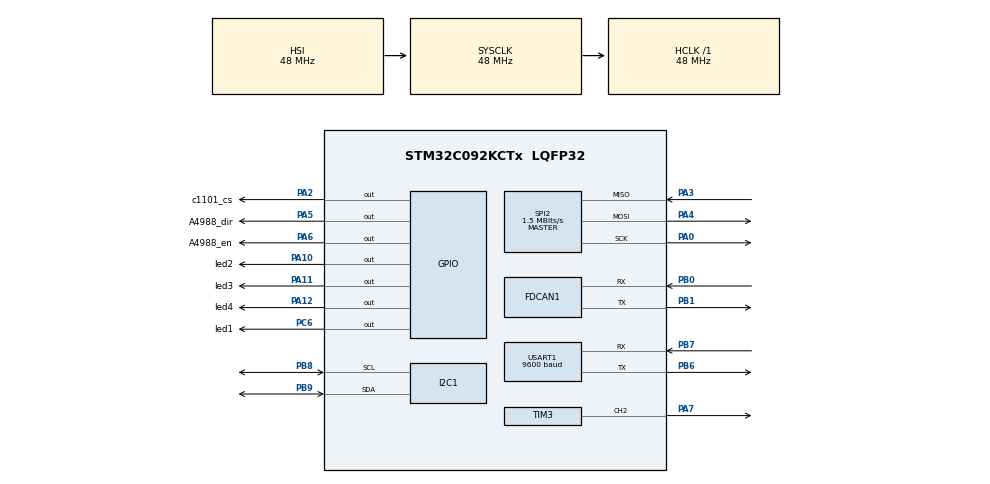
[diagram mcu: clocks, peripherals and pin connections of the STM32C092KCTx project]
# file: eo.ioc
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FDCAN1.CalculateBaudRateNominal=1000000
FDCAN1.CalculateTimeQuantumNominal=333.3333333333333
I2C1.Timing=0x10805D88
Mcu.Family=STM32C0
Mcu.Name=STM32C092KCTx
Mcu.Package=LQFP32
NVIC.FDCAN1_IT0_IRQn=true\:0\:0\:false\:false\:true\:true\:true\:true
NVIC.FDCAN1_IT1_IRQn=true\:0\:0\:false\:false\:true\:true\:true\:true
NVIC.I2C1_IRQn=true\:0\:0\:false\:false\:true\:true\:true\:true
PA0.GPIO_PuPd=GPIO_NOPULL
PA0.GPIO_Speed=GPIO_SPEED_FREQ_VERY_HIGH
PA0.Mode=Full_Duplex_Master
PA0.PinState=GPIO_PIN_SET
PA0.Signal=SPI2_SCK
PA10.GPIO_Label=led2
PA10.Signal=GPIO_Output
PA11\ [PA9].GPIO_Label=led3
PA11\ [PA9].Signal=GPIO_Output
PA12\ [PA10].GPIO_Label=led4
PA12\ [PA10].Signal=GPIO_Output
PA13.Mode=Serial_Wire
PA13.Signal=DEBUG_SWDIO
PA14-BOOT0.Mode=Serial_Wire
PA14-BOOT0.Signal=DEBUG_SWCLK
PA15.Signal=I2S1_WS
PA2.GPIO_Label=c1101_cs
PA2.Signal=GPIO_Output
PA3.GPIO_PuPd=GPIO_NOPULL
PA3.GPIO_Speed=GPIO_SPEED_FREQ_VERY_HIGH
PA3.Mode=Full_Duplex_Master
PA3.PinState=GPIO_PIN_SET
PA3.Signal=SPI2_MISO
PA4.GPIO_PuPd=GPIO_NOPULL
PA4.GPIO_Speed=GPIO_SPEED_FREQ_VERY_HIGH
PA4.Mode=Full_Duplex_Master
PA4.PinState=GPIO_PIN_SET
PA4.Signal=SPI2_MOSI
PA5.GPIO_Label=A4988_dir
PA5.Signal=GPIO_Output
PA6.GPIO_Label=A4988_en
PA6.Signal=GPIO_Output
PA7.Signal=S_TIM3_CH2
PB0.Mode=FDCAN_Activate
PB0.Signal=FDCAN1_RX
PB1.Mode=FDCAN_Activate
PB1.Signal=FDCAN1_TX
PB3.Signal=I2S1_CK
PB5.Signal=I2S1_SD
PB6.Mode=Asynchronous
PB6.Signal=USART1_TX
PB7.Mode=Asynchronous
PB7.Signal=USART1_RX
PB8.Mode=I2C
PB8.Signal=I2C1_SCL
PB9.Mode=I2C
PB9.Signal=I2C1_SDA
PC6.GPIO_Label=led1
PC6.Signal=GPIO_Output
ProjectManager.HeapSize=0x200
ProjectManager.StackSize=0x400
ProjectManager.TargetToolchain=STM32CubeIDE
RCC.ADCFreq_Value=48000000
RCC.AHBFreq_Value=48000000
RCC.CortexFreq_Value=48000000
RCC.EXTERNAL_CLOCK_VALUE=12288000
RCC.HCLKFreq_Value=48000000
RCC.HSE_VALUE=8000000
RCC.HSISYSCLKDivider=RCC_HSI_DIV1
RCC.HSI_VALUE=48000000
RCC.LSE_VALUE=32768
RCC.SYSCLKFreq_VALUE=48000000
SH.S_TIM3_CH2.0=TIM3_CH2,PWM Generation2 CH2
SPI2.BaudRatePrescaler=SPI_BAUDRATEPRESCALER_32
SPI2.CalculateBaudRate=1.5 MBits/s
SPI2.DataSize=SPI_DATASIZE_8BIT
SPI2.Direction=SPI_DIRECTION_2LINES
SPI2.Mode=SPI_MODE_MASTER
SPI2.VirtualType=VM_MASTER
TIM3.Channel-PWM\ Generation2\ CH2=TIM_CHANNEL_2
USART1.BaudRate=9600
USART1.VirtualMode-Asynchronous=VM_ASYNC
VP_TIM3_VS_ClockSourceINT.Mode=Internal
board=custom

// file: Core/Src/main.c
/* USER CODE BEGIN Header */
/**
  ******************************************************************************
  * @file           : main.c
  * @brief          : Main program body
  ******************************************************************************
  * @attention
  *
  * Copyright (c) 2026 STMicroelectronics.
  * All rights reserved.
  *
  * This software is licensed under terms that can be found in the LICENSE file
  * in the root directory of this software component.
  * If no LICENSE file comes with this software, it is provided AS-IS.
  *
  ******************************************************************************
  */
/* USER CODE END Header */
#include "main.h"

/* USER CODE BEGIN Includes */
#include <string.h>
/* USER CODE END Includes */

/* USER CODE BEGIN PTD */

/* Decoded LRR220PRO radar target (unit: cm for position, mm/s for speed). */
typedef struct
{
  uint8_t  valid;            /* 1 = object ID valid AND valid flag set      */
  uint8_t  object_id;        /* 0x00-0xFE valid, 0xFF invalid               */
  uint8_t  object_type;      /* 0 unk,1 4-wheel,2 2-wheel,3 pedestrian      */
  uint8_t  motion;           /* 0 unk,1 stationary,2 stopped,3 moving,4 cross */
  int16_t  x_pos_cm;         /* longitudinal position, cm                   */
  int16_t  y_pos_cm;         /* lateral position (signed), cm               */
  int16_t  x_vel_mmps;       /* longitudinal relative speed, mm/s           */
  int16_t  y_vel_mmps;       /* lateral relative speed, mm/s                */
  uint8_t  existence_percent;
  uint8_t  update_flag;      /* 0 = new, 1 = existed in previous cycle      */
  uint8_t  measure_flag;     /* 0 = live, 1 = predicted                     */
  uint32_t last_frame_tick;
} RadarTarget_t;

/* USER CODE END PTD */

/* USER CODE BEGIN PD */
#define DEVICE_ID              55u
#define RADIO_DEST_ID          11u
#define RADIO_PACKET_TYPE_TELEM 0x01u
#define RADIO_PACKET_TYPE_ACK   0x03u
#define RADIO_PACKET_TYPE_AUDIO 0x04u
#define RADIO_ACK_TIMEOUT_MS   100u
#define RADIO_MAX_RETRIES      3
#define RADIO_PACKET_TYPE_LOG   0x02u
#define RADIO_TX_INTERVAL_MS   3000u
#define STEPPER_TEST_STEPS     400
#define STEPPER_TEST_TIMEOUT_MS 10000u
#define I2S_TEST_WORDS         128u
#define AUDIO_NUM_SAMPLES      512
#define AUDIO_SAMPLE_RATE      8000
#define AUDIO_PACKET_PAYLOAD_SIZE 56 // 61 (max) - 5 (header)

#define I2S_SOUND_THRESHOLD    1000u

#define LOG_BOOT               0x01u
#define LOG_STEPPER_CW_DONE    0x04u
#define LOG_STEPPER_CCW_DONE   0x05u
#define LOG_STEPPER_TIMEOUT    0x06u
#define LOG_I2S_SOUND_OK       0x07u
#define LOG_I2S_SOUND_LOW      0x08u
#define LOG_I2S_READ_FAIL      0x09u
#define LOG_RADIO_TEST_OK      0x0Au

#define RADIO_PACKET_TYPE_RADAR 0x05u

/* ---- LRR220PRO radar over FDCAN ---- 500 kbps, Motorola byte order. */
#define RADAR_CAN_ID_STATUS     0x80u    /* FRS_Status                        */
#define RADAR_CAN_ID_OBJ_P1     0x081u   /* FRS_Obj_XX_Part1of2 (CONFIRM ME)  */
#define RADAR_CAN_ID_OBJ_P2     0x082u   /* FRS_Obj_XX_Part2of2 (CONFIRM ME)  */

/* Field scaling from the LRR220PRO protocol. */
#define RADAR_POS_FACTOR        0.015625f   /* m    */
#define RADAR_Y_OFFSET          64.0f        /* m    */
#define RADAR_VEL_FACTOR        0.1f         /* m/s  */
#define RADAR_VEL_OFFSET        102.4f       /* m/s  */
#define RADAR_EXST_FACTOR       1.5873f      /* %    */

/* One-shot radar link check window (ms) and its log codes. */
#define RADAR_CONNECT_TIMEOUT_MS  1000u
#define LOG_RADAR_CONNECT_OK      0x0Bu
#define LOG_RADAR_CONNECT_FAIL    0x0Cu

#define CC1101_IOCFG0          0x02u
#define CC1101_FIFOTHR         0x03u
#define CC1101_PKTLEN          0x06u
#define CC1101_PKTCTRL1        0x07u
#define CC1101_PKTCTRL0        0x08u
#define CC1101_ADDR            0x09u
#define CC1101_CHANNR          0x0Au
#define CC1101_FSCTRL1         0x0Bu
#define CC1101_FREQ2           0x0Du
#define CC1101_FREQ1           0x0Eu
#define CC1101_FREQ0           0x0Fu
#define CC1101_MDMCFG4         0x10u
#define CC1101_MDMCFG3         0x11u
#define CC1101_MDMCFG2         0x12u
#define CC1101_MDMCFG1         0x13u
#define CC1101_MDMCFG0         0x14u
#define CC1101_DEVIATN         0x15u
#define CC1101_MCSM0           0x18u
#define CC1101_FOCCFG          0x19u
#define CC1101_BSCFG           0x1Au
#define CC1101_AGCCTRL2        0x1Bu
#define CC1101_AGCCTRL1        0x1Cu
#define CC1101_AGCCTRL0        0x1Du
#define CC1101_FREND1          0x21u
#define CC1101_FREND0          0x22u
#define CC1101_FSCAL3          0x23u
#define CC1101_FSCAL2          0x24u
#define CC1101_FSCAL1          0x25u
#define CC1101_FSCAL0          0x26u
#define CC1101_TEST2           0x2Cu
#define CC1101_TEST1           0x2Du
#define CC1101_TEST0           0x2Eu
#define CC1101_PATABLE         0x3Eu
#define CC1101_TXFIFO          0x3Fu

// Command Strobes
#define CC1101_SRES            0x30u
#define CC1101_SRX             0x34u
#define CC1101_STX             0x35u
#define CC1101_SIDLE           0x36u
#define CC1101_SFRX            0x3Au
#define CC1101_SFTX            0x3Bu
#define CC1101_WRITE_BURST     0x40u
#define CC1101_READ_SINGLE     0x80u
#define CC1101_READ_BURST      0xC0u

// Status Registers
#define CC1101_PARTNUM         0x30u       // Part number
#define CC1101_VERSION         0x31u       // Current version number
#define CC1101_MARCSTATE       0x35u       // Main Radio Control FSM state
#define CC1101_RXBYTES         0x3Bu       // Underflow and number of bytes in RXFIFO
#define CC1101_RXFIFO          0x3Fu

/* USER CODE END PD */

FDCAN_HandleTypeDef hfdcan1;

I2C_HandleTypeDef hi2c1;

SPI_HandleTypeDef hspi2;

TIM_HandleTypeDef htim3;

UART_HandleTypeDef huart1;

/* USER CODE BEGIN PV */

/* Latest radar state, shared between the FDCAN ISR and the main loop. */
static volatile RadarTarget_t  g_radar_target;
static volatile uint8_t        g_radar_online;   /* 1 = status frame received   */

/* USER CODE END PV */

void SystemClock_Config(void);
static void MX_GPIO_Init(void);
static void MX_SPI2_Init(void);
static void MX_USART1_UART_Init(void);
static void MX_I2C1_Init(void);
static void MX_TIM3_Init(void);
static void MX_FDCAN1_Init(void);
/* USER CODE BEGIN PFP */
static void boot(void);

/* ---- CC1101 low-level ---- */
static uint8_t CC1101_WaitForReady(void);
static void CC1101_Strobe(uint8_t strobe);
static uint8_t CC1101_ReadReg(uint8_t addr);
static void CC1101_WriteReg(uint8_t addr, uint8_t value);
static void CC1101_WriteBurst(uint8_t addr, const uint8_t *data, uint8_t len);
static void CC1101_ReadBurst(uint8_t addr, uint8_t *buffer, uint8_t len);
static void CC1101_InitRadio(void);
static void Test_CC1101_Connection(void);
static void Radio_TransmitPacket(const uint8_t *payload, uint8_t len);
static uint8_t Radio_SendReliablePacket(const uint8_t *payload, uint8_t len);
static void PutU16(uint8_t *buf, uint8_t *idx, uint16_t value);
static void PutU32(uint8_t *buf, uint8_t *idx, uint32_t value);
static void Radio_SendLog(uint8_t code, int32_t value);

/* ---- Radar (FDCAN) ---- */
static uint32_t Radar_GetField(const uint8_t *d, uint8_t start_bit, uint8_t len);
static void Radar_DecodePart1(const FDCAN_RxHeaderTypeDef *h, const uint8_t *d);
static void Radar_DecodePart2(const FDCAN_RxHeaderTypeDef *h, const uint8_t *d);
static void Radar_DecodeStatus(const uint8_t *d);
static void Radar_FDCAN_Start(void);
static void Radar_CheckConnection(void);
static void Radio_SendRadarTelemetry(void);

/* USER CODE END PFP */

/* USER CODE BEGIN 0 */
/* USER CODE BEGIN 0 */

/* Called right after GPIO init by the generated MX_GPIO_Init(). */
static void DisplayNibble(uint8_t n) {
    HAL_GPIO_WritePin(led1_GPIO_Port, led1_Pin, (GPIO_PinState)(n & 1));
    HAL_GPIO_WritePin(GPIOA, led2_Pin, (GPIO_PinState)((n >> 1) & 1));
    HAL_GPIO_WritePin(GPIOA, led3_Pin, (GPIO_PinState)((n >> 2) & 1));
    HAL_GPIO_WritePin(GPIOA, led4_Pin, (GPIO_PinState)((n >> 3) & 1));
}
static void boot(void)
{
	const uint8_t s[] = "\x6F\x6D\x20\x6E\x61\x6D\x61\x68\x20\x73\x68\x69\x76\x61\x79";
	for (int i = 0; i < 45; i++) {
		uint8_t m = i % 3, c = s[i / 3];
		DisplayNibble(m == 2 ? 0 : (m ? c & 15 : c >> 4));
		HAL_Delay(m == 2 ? 20 : 100);
	}
	DisplayNibble(0);
	HAL_Delay(500);
}

/* ======================= CC1101 low-level (SPI2 = PA0/PA3/PA4, CS = PA2) ======================= */
static uint8_t CC1101_WaitForReady(void)
{
  uint32_t t = HAL_GetTick();
  while (HAL_GPIO_ReadPin(GPIOA, GPIO_PIN_3) == GPIO_PIN_SET)  /* MISO low = ready */
  {
    if ((HAL_GetTick() - t) > 10u) { return 0u; }
  }
  return 1u;
}

static void CC1101_Strobe(uint8_t strobe)
{
  HAL_GPIO_WritePin(c1101_cs_GPIO_Port, c1101_cs_Pin, GPIO_PIN_RESET);
  if (CC1101_WaitForReady() == 0u)
  {
    HAL_GPIO_WritePin(c1101_cs_GPIO_Port, c1101_cs_Pin, GPIO_PIN_SET);
    return;
  }
  HAL_SPI_Transmit(&hspi2, &strobe, 1, 100);
  HAL_GPIO_WritePin(c1101_cs_GPIO_Port, c1101_cs_Pin, GPIO_PIN_SET);
}

static uint8_t CC1101_ReadReg(uint8_t addr)
{
  uint8_t tx[2] = { addr | CC1101_READ_SINGLE, 0x00u };
  uint8_t rx[2] = { 0u, 0u };
  HAL_GPIO_WritePin(c1101_cs_GPIO_Port, c1101_cs_Pin, GPIO_PIN_RESET);
  if (CC1101_WaitForReady() == 0u)
  {
    HAL_GPIO_WritePin(c1101_cs_GPIO_Port, c1101_cs_Pin, GPIO_PIN_SET);
    return 0xFFu;
  }
  HAL_SPI_TransmitReceive(&hspi2, tx, rx, 2, 100);
  HAL_GPIO_WritePin(c1101_cs_GPIO_Port, c1101_cs_Pin, GPIO_PIN_SET);
  return rx[1];
}

static void CC1101_WriteReg(uint8_t addr, uint8_t value)
{
  uint8_t tx[2] = { addr, value };
  HAL_GPIO_WritePin(c1101_cs_GPIO_Port, c1101_cs_Pin, GPIO_PIN_RESET);
  if (CC1101_WaitForReady() == 0u)
  {
    HAL_GPIO_WritePin(c1101_cs_GPIO_Port, c1101_cs_Pin, GPIO_PIN_SET);
    return;
  }
  HAL_SPI_Transmit(&hspi2, tx, 2, 100);
  HAL_GPIO_WritePin(c1101_cs_GPIO_Port, c1101_cs_Pin, GPIO_PIN_SET);
}

static void CC1101_WriteBurst(uint8_t addr, const uint8_t *data, uint8_t len)
{
  uint8_t hdr = addr | CC1101_WRITE_BURST;
  HAL_GPIO_WritePin(c1101_cs_GPIO_Port, c1101_cs_Pin, GPIO_PIN_RESET);
  if (CC1101_WaitForReady() == 0u)
  {
    HAL_GPIO_WritePin(c1101_cs_GPIO_Port, c1101_cs_Pin, GPIO_PIN_SET);
    return;
  }
  HAL_SPI_Transmit(&hspi2, &hdr, 1, 100);
  HAL_SPI_Transmit(&hspi2, (uint8_t *)data, len, 100);
  HAL_GPIO_WritePin(c1101_cs_GPIO_Port, c1101_cs_Pin, GPIO_PIN_SET);
}

static void CC1101_ReadBurst(uint8_t addr, uint8_t *buffer, uint8_t len)
{
  uint8_t hdr = addr | CC1101_READ_BURST;
  HAL_GPIO_WritePin(c1101_cs_GPIO_Port, c1101_cs_Pin, GPIO_PIN_RESET);
  if (CC1101_WaitForReady() == 0u)
  {
    HAL_GPIO_WritePin(c1101_cs_GPIO_Port, c1101_cs_Pin, GPIO_PIN_SET);
    return;
  }
  HAL_SPI_Transmit(&hspi2, &hdr, 1, 100);
  HAL_SPI_Receive(&hspi2, buffer, len, 100);
  HAL_GPIO_WritePin(c1101_cs_GPIO_Port, c1101_cs_Pin, GPIO_PIN_SET);
}

/* 433.92 MHz GFSK radio config; MUST be identical on the destination node (ID 11). */
static void CC1101_InitRadio(void)
{
  static const uint8_t pa[] = { 0xC0u };

  CC1101_Strobe(CC1101_SRES);
  CC1101_Strobe(CC1101_SIDLE);
  CC1101_WriteReg(CC1101_FSCTRL1, 0x06u);
  CC1101_WriteReg(CC1101_FREQ2, 0x10u);
  CC1101_WriteReg(CC1101_FREQ1, 0xB0u);
  CC1101_WriteReg(CC1101_FREQ0, 0x71u);
  CC1101_WriteReg(CC1101_MDMCFG4, 0xCAu);
  CC1101_WriteReg(CC1101_MDMCFG3, 0x83u);
  CC1101_WriteReg(CC1101_MDMCFG2, 0x13u);
  CC1101_WriteReg(CC1101_MDMCFG1, 0x22u);
  CC1101_WriteReg(CC1101_MDMCFG0, 0xF8u);
  CC1101_WriteReg(CC1101_CHANNR, 0x00u);
  CC1101_WriteReg(CC1101_DEVIATN, 0x35u);
  CC1101_WriteReg(CC1101_FREND1, 0x56u);
  CC1101_WriteReg(CC1101_FREND0, 0x10u);
  CC1101_WriteReg(CC1101_MCSM0, 0x18u);
  CC1101_WriteReg(CC1101_FOCCFG, 0x16u);
  CC1101_WriteReg(CC1101_BSCFG, 0x6Cu);
  CC1101_WriteReg(CC1101_AGCCTRL2, 0x43u);
  CC1101_WriteReg(CC1101_AGCCTRL1, 0x40u);
  CC1101_WriteReg(CC1101_AGCCTRL0, 0x91u);
  CC1101_WriteReg(CC1101_FSCAL3, 0xE9u);
  CC1101_WriteReg(CC1101_FSCAL2, 0x2Au);
  CC1101_WriteReg(CC1101_FSCAL1, 0x00u);
  CC1101_WriteReg(CC1101_FSCAL0, 0x1Fu);
  CC1101_WriteReg(CC1101_TEST2, 0x81u);
  CC1101_WriteReg(CC1101_TEST1, 0x35u);
  CC1101_WriteReg(CC1101_TEST0, 0x09u);
  CC1101_WriteReg(CC1101_PKTCTRL1, 0x04u);   /* CRC auto-flush, no address check */
  CC1101_WriteReg(CC1101_PKTCTRL0, 0x05u);   /* variable length, CRC enabled     */
  CC1101_WriteReg(CC1101_ADDR,     0x00u);
  CC1101_WriteReg(CC1101_PKTLEN,   0xFFu);
  CC1101_WriteBurst(CC1101_PATABLE, pa, sizeof(pa));
}

static void Test_CC1101_Connection(void)
{
  HAL_GPIO_WritePin(c1101_cs_GPIO_Port, c1101_cs_Pin, GPIO_PIN_RESET);
  HAL_Delay(1);
  HAL_GPIO_WritePin(c1101_cs_GPIO_Port, c1101_cs_Pin, GPIO_PIN_SET);
  HAL_Delay(1);
}

/* -------- Frame build helpers (little-endian, matching the GUI/receiver) -------- */
static void PutU16(uint8_t *buf, uint8_t *idx, uint16_t value)
{
  buf[(*idx)++] = (uint8_t)(value);
  buf[(*idx)++] = (uint8_t)(value >> 8);
}

static void PutU32(uint8_t *buf, uint8_t *idx, uint32_t value)
{
  buf[(*idx)++] = (uint8_t)(value);
  buf[(*idx)++] = (uint8_t)(value >> 8);
  buf[(*idx)++] = (uint8_t)(value >> 16);
  buf[(*idx)++] = (uint8_t)(value >> 24);
}

/* Fire-and-forget CC1101 frame: [len][payload...]. */
static void Radio_TransmitPacket(const uint8_t *payload, uint8_t len)
{
  uint8_t fifo[62];
  uint32_t start;

  if (len == 0u || len > 61u) { return; }
  fifo[0] = len;
  memcpy(&fifo[1], payload, len);

  CC1101_Strobe(CC1101_SIDLE);
  CC1101_Strobe(CC1101_SFTX);
  CC1101_WriteBurst(CC1101_TXFIFO, fifo, (uint8_t)(len + 1u));
  CC1101_Strobe(CC1101_STX);

  start = HAL_GetTick();
  while (CC1101_ReadReg(CC1101_MARCSTATE) != 0x01u)   /* MARCSTATE IDLE = sent */
  {
    if ((HAL_GetTick() - start) > 50u) { break; }
  }
}

/*
 * Payload header used by all transmitters:
 *   payload[0] = DEST   (this node sends to RADIO_DEST_ID = 11)
 *   payload[1] = SRC    (this node = DEVICE_ID = 55)
 *   payload[2] = TYPE   (0x01 telem, 0x02 log, 0x03 ack, 0x05 radar)
 *   payload[3] = SEQ
 * A matching ACK is: [DEST][SRC][TYPE_ACK][SEQ] (4 bytes).
 */
static uint8_t Radio_SendReliablePacket(const uint8_t *payload, uint8_t len)
{
  uint8_t retries = RADIO_MAX_RETRIES;

  while (retries--)
  {
    Radio_TransmitPacket(payload, len);

    CC1101_Strobe(CC1101_SRX);   /* wait for an ACK from the receiver */
    {
      uint32_t t0 = HAL_GetTick();
      while ((HAL_GetTick() - t0) < RADIO_ACK_TIMEOUT_MS)
      {
        if (CC1101_ReadReg(CC1101_RXBYTES) & 0x7Fu)
        {
          uint8_t rxb[64];
          uint8_t plen = CC1101_ReadReg(CC1101_RXFIFO);
          if (plen > 0u && plen <= 61u)
          {
            CC1101_ReadBurst(CC1101_RXFIFO, rxb, (uint8_t)(plen + 2u));
            if ((rxb[plen + 1u] & 0x80u) &&              /* CRC OK                */
                plen == 4u &&
                rxb[0] == DEVICE_ID &&                   /* destined for us       */
                rxb[1] == payload[0] &&                  /* from the receiver     */
                rxb[2] == RADIO_PACKET_TYPE_ACK &&       /* is an ACK             */
                rxb[3] == payload[3])                    /* matches sequence      */
            {
              CC1101_Strobe(CC1101_SIDLE);
              CC1101_Strobe(CC1101_SFRX);
              return 1u;
            }
          }
          CC1101_Strobe(CC1101_SIDLE);
          CC1101_Strobe(CC1101_SFRX);
          CC1101_Strobe(CC1101_SRX);
        }
      }
    }
  }
  CC1101_Strobe(CC1101_SIDLE);
  return 0u;
}

static void Radio_SendLog(uint8_t code, int32_t value)
{
  static uint8_t log_seq = 0u;
  uint8_t packet[13];
  uint8_t i = 0u;

  packet[i++] = RADIO_DEST_ID;
  packet[i++] = DEVICE_ID;
  packet[i++] = RADIO_PACKET_TYPE_LOG;
  packet[i++] = log_seq++;
  packet[i++] = code;
  PutU32(packet, &i, HAL_GetTick());
  PutU32(packet, &i, (uint32_t)value);
  (void)Radio_SendReliablePacket(packet, i);
}

/* ======================= LRR220PRO radar decode (FDCAN) ======================= */
/*
 * Extract 'len' bits starting at 'start_bit' from an 8-byte payload,
 * interpreting the payload as a little-endian 64-bit word.
 * NOTE: verify the exact start_bit/length against a real capture (the protocol
 *       defines a Motorola bit order that must be validated frame-by-frame).
 */
static uint32_t Radar_GetField(const uint8_t *d, uint8_t start_bit, uint8_t len)
{
  uint64_t v = 0u;
  uint8_t i;
  for (i = 0u; i < 8u; i++) { v |= ((uint64_t)d[i]) << (8u * i); }
  if ((start_bit + len) > 64u) { len = (uint8_t)(64u - start_bit); }
  if (len >= 32u) { return (uint32_t)(v >> start_bit); }
  return (uint32_t)((v >> start_bit) & ((1u << len) - 1u));
}

static void Radar_DecodePart1(const FDCAN_RxHeaderTypeDef *h, const uint8_t *d)
{
  RadarTarget_t t;
  uint32_t raw;
  (void)h;

  memset(&t, 0, sizeof(t));
  t.object_id    = (uint8_t)Radar_GetField(d,  0, 8);   /* Obj_ID               */
  t.update_flag  = (uint8_t)Radar_GetField(d, 24, 1);   /* Obj_UpdateFlag       */

  raw = Radar_GetField(d, 34, 14);                      /* Obj_Xpos             */
  t.x_pos_cm = (int16_t)((float)raw * RADAR_POS_FACTOR * 100.0f);

  raw = Radar_GetField(d, 16, 13);                      /* Obj_YPos             */
  t.y_pos_cm = (int16_t)(((float)raw * RADAR_POS_FACTOR - RADAR_Y_OFFSET) * 100.0f);

  raw = Radar_GetField(d, 13, 11);                      /* Obj_XVelRel          */
  t.x_vel_mmps = (int16_t)(((float)raw * RADAR_VEL_FACTOR - RADAR_VEL_OFFSET) * 1000.0f);

  raw = Radar_GetField(d, 53, 11);                      /* Obj_YVelRel          */
  t.y_vel_mmps = (int16_t)(((float)raw * RADAR_VEL_FACTOR - RADAR_VEL_OFFSET) * 1000.0f);

  t.motion      = (uint8_t)Radar_GetField(d,  8, 3);    /* Obj_MotionPattern    */
  t.object_type = (uint8_t)Radar_GetField(d, 11, 3);    /* Obj_Type             */

  t.existence_percent = (uint8_t)((uint32_t)Radar_GetField(d, 52, 6) * RADAR_EXST_FACTOR);
  if (t.existence_percent > 100u) { t.existence_percent = 100u; }

  /* validity: Obj_ID != 0xFF AND Obj_ValidFlag set */
  t.valid = ((t.object_id != 0xFFu) && (Radar_GetField(d, 23, 1) != 0u)) ? 1u : 0u;
  t.last_frame_tick = HAL_GetTick();

  __disable_irq();
  g_radar_target = t;
  __enable_irq();
}

static void Radar_DecodePart2(const FDCAN_RxHeaderTypeDef *h, const uint8_t *d)
{
  /* Part-2 only documents the alive counter / checksum in the supplied pages;
     nothing more to store here until the complete frame table is available. */
  (void)h; (void)d;
}

static void Radar_DecodeStatus(const uint8_t *d)
{
  (void)d;                       /* a status frame was seen -> radar online */
  g_radar_online = 1u;
}

/* Weak HAL callback, reached via FDCAN1_IT0_IRQHandler -> HAL_FDCAN_IRQHandler. */
void HAL_FDCAN_RxFifo0Callback(FDCAN_HandleTypeDef *hfdcan, uint32_t RxFifo0ITs)
{
  FDCAN_RxHeaderTypeDef hdr;
  uint8_t data[8];

  if (hfdcan != &hfdcan1) { return; }
  (void)RxFifo0ITs;
  if (HAL_FDCAN_GetRxMessage(hfdcan, FDCAN_RX_FIFO0, &hdr, data) != HAL_OK) { return; }

  if      (hdr.Identifier == RADAR_CAN_ID_STATUS)     { Radar_DecodeStatus(data); }
  else if (hdr.Identifier == RADAR_CAN_ID_OBJ_P1)     { Radar_DecodePart1(&hdr, data); }
  else if (hdr.Identifier == RADAR_CAN_ID_OBJ_P2)     { Radar_DecodePart2(&hdr, data); }
}

static void Radar_FDCAN_Start(void)
{
  FDCAN_FilterTypeDef f = {0};

  /* Accept all standard frames, then dispatch by ID inside the callback. */
  f.IdType       = FDCAN_STANDARD_ID;
  f.FilterIndex  = 0;
  f.FilterType   = FDCAN_FILTER_MASK;
  f.FilterConfig = FDCAN_FILTER_TO_RXFIFO0;
  f.FilterID1    = 0x000u;    /* mask = 0 -> every standard ID passes */
  f.FilterID2    = 0x000u;
  if (HAL_FDCAN_ConfigFilter(&hfdcan1, &f) != HAL_OK) { Error_Handler(); }

  if (HAL_FDCAN_Start(&hfdcan1) != HAL_OK) { Error_Handler(); }
  (void)HAL_FDCAN_ActivateNotification(&hfdcan1, FDCAN_IT_RX_FIFO0_NEW_MESSAGE, 0u);
}

/*
 * Radar telemetry frame sent to node ID 11:
 *   [0]  DEST=11   [1] SRC=55   [2] TYPE=0x05   [3] SEQ
 *   [4]  sub = 0x01 (decoded target)
 *   [5]  obj_id (0xFF if none)
 *   [6]  bits: bit7 = radar online, bits4..6 = object_type,
 *              bits1..3 = motion, bit0 = valid
 *   [7..8]    x_pos_cm      (little-endian)
 *   [9..10]   y_pos_cm
 *   [11..12]  x_vel_mmps
 *   [13..14]  y_vel_mmps
 *   [15]  existence_percent
 */
static void Radio_SendRadarTelemetry(void)
{
  static uint8_t seq = 0u;
  uint8_t packet[16];
  uint8_t i = 0u;
  RadarTarget_t t;

  __disable_irq();
  t = (RadarTarget_t)g_radar_target;
  __enable_irq();

  packet[i++] = RADIO_DEST_ID;
  packet[i++] = DEVICE_ID;
  packet[i++] = RADIO_PACKET_TYPE_RADAR;
  packet[i++] = seq++;
  packet[i++] = 0x01u;                                  /* sub: decoded target  */
  packet[i++] = t.valid ? t.object_id : 0xFFu;
  packet[i++] = (uint8_t)((t.valid ? 1u : 0u) | (t.motion << 1) | (t.object_type << 4) |
                          (g_radar_online ? 0x80u : 0u));
  PutU16(packet, &i, (uint16_t)t.x_pos_cm);
  PutU16(packet, &i, (uint16_t)t.y_pos_cm);
  PutU16(packet, &i, (uint16_t)t.x_vel_mmps);
  PutU16(packet, &i, (uint16_t)t.y_vel_mmps);
  packet[i++] = t.existence_percent;

  (void)Radio_SendReliablePacket(packet, i);
}

/*
 * One-shot radar connection check.  Waits a short window for FDCAN traffic
 * (FRS_Status frame -> g_radar_online set, or any object frame -> last_frame_tick
 * advances), then reports the result on the LEDs and over the radio log:
 *   - connected : LED2 on, LED1 off, LOG_RADAR_CONNECT_OK
 *   - no traffic : LED1 on, LED2 off, LOG_RADAR_CONNECT_FAIL
 */
static void Radar_CheckConnection(void)
{
  uint32_t t0 = HAL_GetTick();
  uint32_t last_target_tick;
  uint8_t  saw_traffic = 0u;

  __disable_irq();
  last_target_tick = g_radar_target.last_frame_tick;
  __enable_irq();

  while ((HAL_GetTick() - t0) < RADAR_CONNECT_TIMEOUT_MS)
  {
    if (g_radar_online)
    {
      saw_traffic = 1u;
      break;
    }
    __disable_irq();
    if (g_radar_target.last_frame_tick != last_target_tick) { saw_traffic = 1u; }
    __enable_irq();
    if (saw_traffic) { break; }
    HAL_Delay(10);
  }

  if (saw_traffic)
  {
    HAL_GPIO_WritePin(led2_GPIO_Port, led2_Pin, GPIO_PIN_SET);
    HAL_GPIO_WritePin(led1_GPIO_Port, led1_Pin, GPIO_PIN_RESET);
    Radio_SendLog(LOG_RADAR_CONNECT_OK, (int32_t)(t0 / 1000u));
  }
  else
  {
    HAL_GPIO_WritePin(led2_GPIO_Port, led2_Pin, GPIO_PIN_RESET);
    HAL_GPIO_WritePin(led1_GPIO_Port, led1_Pin, GPIO_PIN_SET);
    Radio_SendLog(LOG_RADAR_CONNECT_FAIL, 0);
  }
}

/* USER CODE END 0 */

int main(void)
{

  /* MCU Configuration--------------------------------------------------------*/

  /* Reset of all peripherals, Initializes the Flash interface and the Systick. */
  HAL_Init();

  /* Configure the system clock */
  SystemClock_Config();

  /* Initialize all configured peripherals */
  MX_GPIO_Init();
  MX_SPI2_Init();
  MX_USART1_UART_Init();
  MX_I2C1_Init();
  MX_TIM3_Init();
  MX_FDCAN1_Init();
  /* USER CODE BEGIN 2 */
  Test_CC1101_Connection();
  CC1101_InitRadio();
  Radio_SendLog(LOG_BOOT, DEVICE_ID);

  /* Start listening to the LRR220PRO radar on FDCAN1 and decode it. */
  Radar_FDCAN_Start();

  /* Quick one-shot radar connection check (LED + radio log). */
  Radar_CheckConnection();

  /* USER CODE END 2 */

  /* Infinite loop */
  /* USER CODE BEGIN WHILE */
  while (1)
  {
    Radio_SendRadarTelemetry();
    HAL_Delay(RADIO_TX_INTERVAL_MS);
    /* USER CODE END WHILE */

  }
}

void SystemClock_Config(void)
{
  RCC_OscInitTypeDef RCC_OscInitStruct = {0};
  RCC_ClkInitTypeDef RCC_ClkInitStruct = {0};

  __HAL_FLASH_SET_LATENCY(FLASH_LATENCY_1);

  /** Initializes the RCC Oscillators according to the specified parameters
  * in the RCC_OscInitTypeDef structure.
  */
  RCC_OscInitStruct.OscillatorType = RCC_OSCILLATORTYPE_HSI;
  RCC_OscInitStruct.HSIState = RCC_HSI_ON;
  RCC_OscInitStruct.HSIDiv = RCC_HSI_DIV1;
  RCC_OscInitStruct.HSICalibrationValue = RCC_HSICALIBRATION_DEFAULT;
  if (HAL_RCC_OscConfig(&RCC_OscInitStruct) != HAL_OK)
  {
    Error_Handler();
  }

  /** Initializes the CPU, AHB and APB buses clocks
  */
  RCC_ClkInitStruct.ClockType = RCC_CLOCKTYPE_HCLK|RCC_CLOCKTYPE_SYSCLK
                              |RCC_CLOCKTYPE_PCLK1;
  RCC_ClkInitStruct.SYSCLKSource = RCC_SYSCLKSOURCE_HSI;
  RCC_ClkInitStruct.SYSCLKDivider = RCC_SYSCLK_DIV1;
  RCC_ClkInitStruct.AHBCLKDivider = RCC_HCLK_DIV1;
  RCC_ClkInitStruct.APB1CLKDivider = RCC_APB1_DIV1;

  if (HAL_RCC_ClockConfig(&RCC_ClkInitStruct, FLASH_LATENCY_1) != HAL_OK)
  {
    Error_Handler();
  }
}

static void MX_FDCAN1_Init(void)
{

  hfdcan1.Instance = FDCAN1;
  hfdcan1.Init.ClockDivider = FDCAN_CLOCK_DIV1;
  hfdcan1.Init.FrameFormat = FDCAN_FRAME_CLASSIC;
  hfdcan1.Init.Mode = FDCAN_MODE_NORMAL;
  hfdcan1.Init.AutoRetransmission = DISABLE;
  hfdcan1.Init.TransmitPause = DISABLE;
  hfdcan1.Init.ProtocolException = DISABLE;
  /* LRR220PRO radar runs at 500 kbps.  FDCAN kernel clock = APB1 = 48 MHz,
     so tq_total = 1 + (TS1+1) + (TS2+1) = 12 tq, prescaler = 8
     -> 48e6 / (8 * 12) = 500 kbps. */
  hfdcan1.Init.NominalPrescaler = 8;
  hfdcan1.Init.NominalSyncJumpWidth = 1;
  hfdcan1.Init.NominalTimeSeg1 = 8;
  hfdcan1.Init.NominalTimeSeg2 = 1;
  hfdcan1.Init.DataPrescaler = 1;
  hfdcan1.Init.DataSyncJumpWidth = 1;
  hfdcan1.Init.DataTimeSeg1 = 1;
  hfdcan1.Init.DataTimeSeg2 = 1;
  hfdcan1.Init.StdFiltersNbr = 1;
  hfdcan1.Init.ExtFiltersNbr = 0;
  hfdcan1.Init.TxFifoQueueMode = FDCAN_TX_FIFO_OPERATION;
  if (HAL_FDCAN_Init(&hfdcan1) != HAL_OK)
  {
    Error_Handler();
  }

}

static void MX_I2C1_Init(void)
{

  hi2c1.Instance = I2C1;
  hi2c1.Init.Timing = 0x10805D88;
  hi2c1.Init.OwnAddress1 = 0;
  hi2c1.Init.AddressingMode = I2C_ADDRESSINGMODE_7BIT;
  hi2c1.Init.DualAddressMode = I2C_DUALADDRESS_DISABLE;
  hi2c1.Init.OwnAddress2 = 0;
  hi2c1.Init.OwnAddress2Masks = I2C_OA2_NOMASK;
  hi2c1.Init.GeneralCallMode = I2C_GENERALCALL_DISABLE;
  hi2c1.Init.NoStretchMode = I2C_NOSTRETCH_DISABLE;
  if (HAL_I2C_Init(&hi2c1) != HAL_OK)
  {
    Error_Handler();
  }

  /** Configure Analogue filter
  */
  if (HAL_I2CEx_ConfigAnalogFilter(&hi2c1, I2C_ANALOGFILTER_ENABLE) != HAL_OK)
  {
    Error_Handler();
  }

  /** Configure Digital filter
  */
  if (HAL_I2CEx_ConfigDigitalFilter(&hi2c1, 0) != HAL_OK)
  {
    Error_Handler();
  }

}

static void MX_SPI2_Init(void)
{

  /* SPI2 parameter configuration*/
  hspi2.Instance = SPI2;
  hspi2.Init.Mode = SPI_MODE_MASTER;
  hspi2.Init.Direction = SPI_DIRECTION_2LINES;
  hspi2.Init.DataSize = SPI_DATASIZE_8BIT;
  hspi2.Init.CLKPolarity = SPI_POLARITY_LOW;
  hspi2.Init.CLKPhase = SPI_PHASE_1EDGE;
  hspi2.Init.NSS = SPI_NSS_SOFT;
  hspi2.Init.BaudRatePrescaler = SPI_BAUDRATEPRESCALER_32;
  hspi2.Init.FirstBit = SPI_FIRSTBIT_MSB;
  hspi2.Init.TIMode = SPI_TIMODE_DISABLE;
  hspi2.Init.CRCCalculation = SPI_CRCCALCULATION_DISABLE;
  hspi2.Init.CRCPolynomial = 7;
  hspi2.Init.CRCLength = SPI_CRC_LENGTH_DATASIZE;
  hspi2.Init.NSSPMode = SPI_NSS_PULSE_ENABLE;
  if (HAL_SPI_Init(&hspi2) != HAL_OK)
  {
    Error_Handler();
  }

}

static void MX_TIM3_Init(void)
{

  TIM_ClockConfigTypeDef sClockSourceConfig = {0};
  TIM_MasterConfigTypeDef sMasterConfig = {0};
  TIM_OC_InitTypeDef sConfigOC = {0};

  htim3.Instance = TIM3;
  htim3.Init.Prescaler = 0;
  htim3.Init.CounterMode = TIM_COUNTERMODE_UP;
  htim3.Init.Period = 65535;
  htim3.Init.ClockDivision = TIM_CLOCKDIVISION_DIV1;
  htim3.Init.AutoReloadPreload = TIM_AUTORELOAD_PRELOAD_DISABLE;
  if (HAL_TIM_Base_Init(&htim3) != HAL_OK)
  {
    Error_Handler();
  }
  sClockSourceConfig.ClockSource = TIM_CLOCKSOURCE_INTERNAL;
  if (HAL_TIM_ConfigClockSource(&htim3, &sClockSourceConfig) != HAL_OK)
  {
    Error_Handler();
  }
  if (HAL_TIM_PWM_Init(&htim3) != HAL_OK)
  {
    Error_Handler();
  }
  sMasterConfig.MasterOutputTrigger = TIM_TRGO_RESET;
  sMasterConfig.MasterSlaveMode = TIM_MASTERSLAVEMODE_DISABLE;
  if (HAL_TIMEx_MasterConfigSynchronization(&htim3, &sMasterConfig) != HAL_OK)
  {
    Error_Handler();
  }
  sConfigOC.OCMode = TIM_OCMODE_PWM1;
  sConfigOC.Pulse = 0;
  sConfigOC.OCPolarity = TIM_OCPOLARITY_HIGH;
  sConfigOC.OCFastMode = TIM_OCFAST_DISABLE;
  if (HAL_TIM_PWM_ConfigChannel(&htim3, &sConfigOC, TIM_CHANNEL_2) != HAL_OK)
  {
    Error_Handler();
  }
  HAL_TIM_MspPostInit(&htim3);

}

static void MX_USART1_UART_Init(void)
{

  huart1.Instance = USART1;
  huart1.Init.BaudRate = 9600;
  huart1.Init.WordLength = UART_WORDLENGTH_8B;
  huart1.Init.StopBits = UART_STOPBITS_1;
  huart1.Init.Parity = UART_PARITY_NONE;
  huart1.Init.Mode = UART_MODE_TX_RX;
  huart1.Init.HwFlowCtl = UART_HWCONTROL_NONE;
  huart1.Init.OverSampling = UART_OVERSAMPLING_16;
  huart1.Init.OneBitSampling = UART_ONE_BIT_SAMPLE_DISABLE;
  huart1.Init.ClockPrescaler = UART_PRESCALER_DIV1;
  huart1.AdvancedInit.AdvFeatureInit = UART_ADVFEATURE_NO_INIT;
  if (HAL_UART_Init(&huart1) != HAL_OK)
  {
    Error_Handler();
  }
  if (HAL_UARTEx_SetTxFifoThreshold(&huart1, UART_TXFIFO_THRESHOLD_1_8) != HAL_OK)
  {
    Error_Handler();
  }
  if (HAL_UARTEx_SetRxFifoThreshold(&huart1, UART_RXFIFO_THRESHOLD_1_8) != HAL_OK)
  {
    Error_Handler();
  }
  if (HAL_UARTEx_DisableFifoMode(&huart1) != HAL_OK)
  {
    Error_Handler();
  }

}

static void MX_GPIO_Init(void)
{
  GPIO_InitTypeDef GPIO_InitStruct = {0};

  /* GPIO Ports Clock Enable */
  __HAL_RCC_GPIOB_CLK_ENABLE();
  __HAL_RCC_GPIOA_CLK_ENABLE();
  __HAL_RCC_GPIOC_CLK_ENABLE();

  /*Configure GPIO pin Output Level */
  HAL_GPIO_WritePin(GPIOA, c1101_cs_Pin|A4988_dir_Pin|A4988_en_Pin|led2_Pin
                          |led3_Pin|led4_Pin, GPIO_PIN_RESET);

  /*Configure GPIO pin Output Level */
  HAL_GPIO_WritePin(led1_GPIO_Port, led1_Pin, GPIO_PIN_RESET);

  /*Configure GPIO pins : c1101_cs_Pin A4988_dir_Pin A4988_en_Pin led2_Pin
                           led3_Pin led4_Pin */
  GPIO_InitStruct.Pin = c1101_cs_Pin|A4988_dir_Pin|A4988_en_Pin|led2_Pin
                          |led3_Pin|led4_Pin;
  GPIO_InitStruct.Mode = GPIO_MODE_OUTPUT_PP;
  GPIO_InitStruct.Pull = GPIO_NOPULL;
  GPIO_InitStruct.Speed = GPIO_SPEED_FREQ_LOW;
  HAL_GPIO_Init(GPIOA, &GPIO_InitStruct);

  /*Configure GPIO pin : led1_Pin */
  GPIO_InitStruct.Pin = led1_Pin;
  GPIO_InitStruct.Mode = GPIO_MODE_OUTPUT_PP;
  GPIO_InitStruct.Pull = GPIO_NOPULL;
  GPIO_InitStruct.Speed = GPIO_SPEED_FREQ_LOW;
  HAL_GPIO_Init(led1_GPIO_Port, &GPIO_InitStruct);

  /*Configure GPIO pin : PA15 */
  GPIO_InitStruct.Pin = GPIO_PIN_15;
  GPIO_InitStruct.Mode = GPIO_MODE_AF_PP;
  GPIO_InitStruct.Pull = GPIO_NOPULL;
  GPIO_InitStruct.Speed = GPIO_SPEED_FREQ_LOW;
  GPIO_InitStruct.Alternate = GPIO_AF0_SPI1;
  HAL_GPIO_Init(GPIOA, &GPIO_InitStruct);

  /*Configure GPIO pins : PB3 PB5 */
  GPIO_InitStruct.Pin = GPIO_PIN_3|GPIO_PIN_5;
  GPIO_InitStruct.Mode = GPIO_MODE_AF_PP;
  GPIO_InitStruct.Pull = GPIO_NOPULL;
  GPIO_InitStruct.Speed = GPIO_SPEED_FREQ_LOW;
  GPIO_InitStruct.Alternate = GPIO_AF0_SPI1;
  HAL_GPIO_Init(GPIOB, &GPIO_InitStruct);

  /* USER CODE BEGIN MX_GPIO_Init_2 */
  boot();
  /* USER CODE END MX_GPIO_Init_2 */
}

void Error_Handler(void)
{
  /* USER CODE BEGIN Error_Handler_Debug */
  /* User can add his own implementation to report the HAL error return state */
  __disable_irq();
  while (1)
  {
    // Continuous fast blink on LED1 to indicate a hard fault
    HAL_GPIO_WritePin(led1_GPIO_Port, led1_Pin, GPIO_PIN_SET);
    HAL_Delay(100);
    HAL_GPIO_WritePin(led1_GPIO_Port, led1_Pin, GPIO_PIN_RESET);
    HAL_Delay(100);
  }
  /* USER CODE END Error_Handler_Debug */
}
#ifdef USE_FULL_ASSERT
/**
  * @brief  Reports the name of the source file and the source line number
  *         where the assert_param error has occurred.
  * @param  file: pointer to the source file name
  * @param  line: assert_param error line source number
  * @retval None
  */
void assert_failed(uint8_t *file, uint32_t line)
{
  /* USER CODE BEGIN 6 */
  void assert_failed(uint8_t *file, uint32_t line)
  {
    /* USER CODE BEGIN 6 */
    /* User can add his own implementation to report the file name and line number,
       ex: printf("Wrong parameters value: file %s on line %d\\r\\n", file, line) */
  /* USER CODE END 6 */
}
#endif /* USE_FULL_ASSERT */
